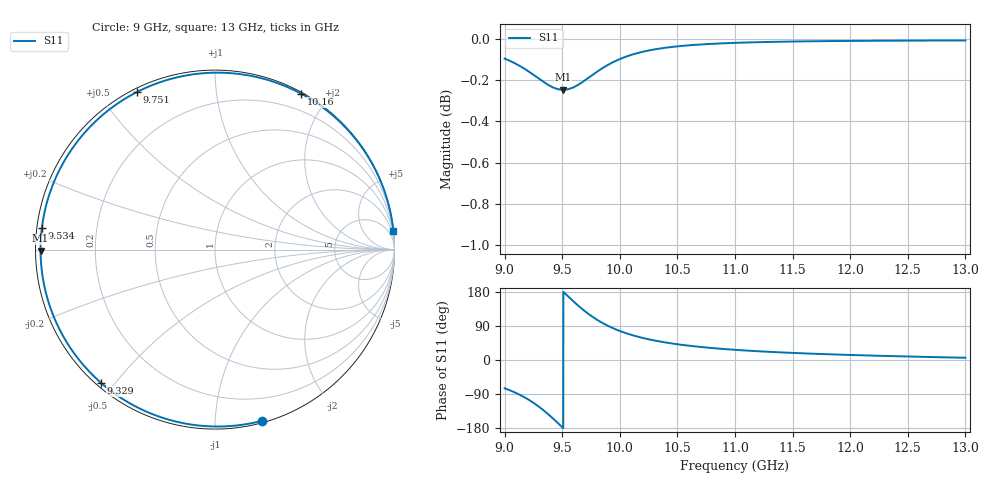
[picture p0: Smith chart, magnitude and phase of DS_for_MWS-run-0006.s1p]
! TOUCHSTONE file generated by CST DESIGN STUDIO
! Date and time: Tue Feb  4 15:56:17 2025
! Project name: C:\Work\MatlabApps\UnitCellOptimizationMatlab\CST\unitcell.cst
! Tree item: Tasks\Sweep1\SPara1\S-Parameters
! Header version: 2024
! Port assignment regex: !\s*Touchstone port\s*([0-9]+)\s*=\s*(CST MWS port|CST DES external port|CST DES block port)\s*(.+)\s* \(\"(.*)\"\)(\s*mode\s*([0-9]+))?.*
! Touchstone port assignment:
! Touchstone port 1 = CST DES external port 1 ("")
# GHz S MA R 50
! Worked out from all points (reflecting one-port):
!   4001 points, 9 GHz to 13 GHz, reference 50 ohm
!   lowest |S11| = -0.2 dB at 9.508 GHz (marker M1), VSWR 70.67, Z = 0.708 - j0.166 ohm
!   phase of S11 starts at -75 deg and turns -279 deg over the sweep
!   S11 on the Smith chart (normalised r, x): 9 GHz: 0.01, -1.31; 9.329 GHz: 0.01, -0.46; 9.534 GHz: 0.01, +0.06; 9.751 GHz: 0.01, +0.62; 10.16 GHz: 0.01, +1.70; 13 GHz: 0, +19
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9  0.9892 -74.6
9.088  0.9867 -85.5
9.191  0.9828 -101.6
9.263  0.9797 -115.6
9.329  0.9768 -130.5
9.375  0.9749 -142.1
9.423  0.9733 -155.2
9.462  0.9725 -166.2
9.5  0.9721 -177.3
9.508  0.9721 -179.6
9.534  0.9722 172.8
9.588  0.9732 157.3
9.648  0.9752 141.0
9.699  0.9773 128.2
9.751  0.9797 116.5
9.802  0.982 106.3
9.859  0.9843 96.2
9.929  0.9868 85.6
10  0.9889 76.6
10.163  0.9924 60.9
10.316  0.9945 50.6
10.5  0.996 41.5
10.722  0.9971 33.8
11  0.998 26.9
11.5  0.9987 18.7
12  0.9991 13.3
12.5  0.9992 9.2
13  0.9993 5.9
